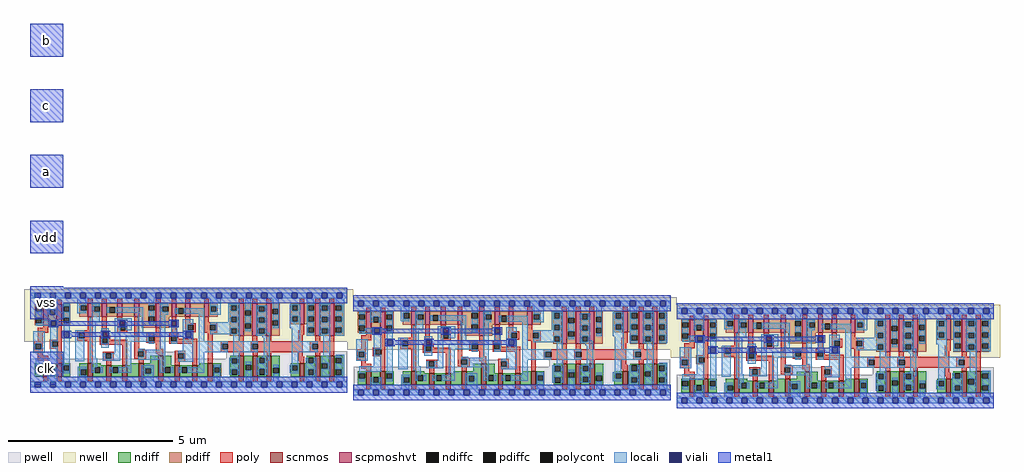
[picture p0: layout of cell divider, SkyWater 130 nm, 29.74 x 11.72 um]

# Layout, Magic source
magic
tech sky130A
<< metal1 >>
rect 0 0 100 100
rect 0 -200 100 -100
rect 0 -400 100 -300
rect 0 -600 100 -500
rect 0 -800 100 -700
rect 0 -1000 100 -900
use sky130_fd_sc_hd__dfxbp_2  x1 $PDKPATH/libs.ref/sky130_fd_sc_hd/mag
transform 1 0 985 0 1 -1024
box -19 -24 985 296
use sky130_fd_sc_hd__dfxbp_2  x2
transform 1 0 1970 0 1 -1048
box -19 -24 985 296
use sky130_fd_sc_hd__dfxbp_2  x3
transform 1 0 0 0 1 -1000
box -19 -24 985 296
<< labels >>
flabel metal1 0 0 100 100 0 FreeSans 128 0 0 0 b
port 0 nsew
flabel metal1 0 -200 100 -100 0 FreeSans 128 0 0 0 c
port 1 nsew
flabel metal1 0 -400 100 -300 0 FreeSans 128 0 0 0 a
port 2 nsew
flabel metal1 0 -600 100 -500 0 FreeSans 128 0 0 0 vdd
port 3 nsew
flabel metal1 0 -800 100 -700 0 FreeSans 128 0 0 0 vss
port 4 nsew
flabel metal1 0 -1000 100 -900 0 FreeSans 128 0 0 0 clk
port 5 nsew
<< end >>

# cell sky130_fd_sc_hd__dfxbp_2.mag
magic
tech sky130A
magscale 1 2
<< nwell >>
rect -38 261 1970 582
<< pwell >>
rect 704 157 886 201
rect 1194 157 1931 203
rect 1 21 1931 157
rect 29 -17 63 21
<< scnmos >>
rect 79 47 109 131
rect 163 47 193 131
rect 351 47 381 131
rect 463 47 493 119
rect 562 47 592 119
rect 661 47 691 131
rect 780 47 810 175
rect 881 47 911 119
rect 987 47 1017 119
rect 1082 47 1112 131
rect 1272 47 1302 177
rect 1356 47 1386 177
rect 1440 47 1470 177
rect 1641 47 1671 131
rect 1738 47 1768 177
rect 1822 47 1852 177
<< scpmoshvt >>
rect 79 363 109 491
rect 163 363 193 491
rect 351 413 381 497
rect 436 413 466 497
rect 531 413 561 497
rect 634 413 664 497
rect 766 347 796 497
rect 861 413 891 497
rect 945 413 975 497
rect 1059 413 1089 497
rect 1270 297 1300 497
rect 1354 297 1384 497
rect 1438 297 1468 497
rect 1641 369 1671 497
rect 1738 297 1768 497
rect 1822 297 1852 497
<< ndiff >>
rect 27 119 79 131
rect 27 85 35 119
rect 69 85 79 119
rect 27 47 79 85
rect 109 93 163 131
rect 109 59 119 93
rect 153 59 163 93
rect 109 47 163 59
rect 193 119 245 131
rect 193 85 203 119
rect 237 85 245 119
rect 193 47 245 85
rect 299 93 351 131
rect 299 59 307 93
rect 341 59 351 93
rect 299 47 351 59
rect 381 119 431 131
rect 730 131 780 175
rect 611 119 661 131
rect 381 107 463 119
rect 381 73 392 107
rect 426 73 463 107
rect 381 47 463 73
rect 493 107 562 119
rect 493 73 503 107
rect 537 73 562 107
rect 493 47 562 73
rect 592 47 661 119
rect 691 101 780 131
rect 691 67 702 101
rect 736 67 780 101
rect 691 47 780 67
rect 810 119 860 175
rect 1220 162 1272 177
rect 1032 119 1082 131
rect 810 107 881 119
rect 810 73 821 107
rect 855 73 881 107
rect 810 47 881 73
rect 911 107 987 119
rect 911 73 924 107
rect 958 73 987 107
rect 911 47 987 73
rect 1017 47 1082 119
rect 1112 107 1164 131
rect 1112 73 1122 107
rect 1156 73 1164 107
rect 1112 47 1164 73
rect 1220 128 1228 162
rect 1262 128 1272 162
rect 1220 94 1272 128
rect 1220 60 1228 94
rect 1262 60 1272 94
rect 1220 47 1272 60
rect 1302 123 1356 177
rect 1302 89 1312 123
rect 1346 89 1356 123
rect 1302 47 1356 89
rect 1386 164 1440 177
rect 1386 130 1396 164
rect 1430 130 1440 164
rect 1386 96 1440 130
rect 1386 62 1396 96
rect 1430 62 1440 96
rect 1386 47 1440 62
rect 1470 104 1522 177
rect 1686 165 1738 177
rect 1686 131 1694 165
rect 1728 131 1738 165
rect 1470 70 1480 104
rect 1514 70 1522 104
rect 1470 47 1522 70
rect 1589 119 1641 131
rect 1589 85 1597 119
rect 1631 85 1641 119
rect 1589 47 1641 85
rect 1671 93 1738 131
rect 1671 59 1694 93
rect 1728 59 1738 93
rect 1671 47 1738 59
rect 1768 131 1822 177
rect 1768 97 1778 131
rect 1812 97 1822 131
rect 1768 47 1822 97
rect 1852 165 1905 177
rect 1852 131 1863 165
rect 1897 131 1905 165
rect 1852 93 1905 131
rect 1852 59 1863 93
rect 1897 59 1905 93
rect 1852 47 1905 59
<< pdiff >>
rect 27 477 79 491
rect 27 443 35 477
rect 69 443 79 477
rect 27 409 79 443
rect 27 375 35 409
rect 69 375 79 409
rect 27 363 79 375
rect 109 461 163 491
rect 109 427 119 461
rect 153 427 163 461
rect 109 363 163 427
rect 193 477 245 491
rect 193 443 203 477
rect 237 443 245 477
rect 193 409 245 443
rect 299 485 351 497
rect 299 451 307 485
rect 341 451 351 485
rect 299 413 351 451
rect 381 477 436 497
rect 381 443 391 477
rect 425 443 436 477
rect 381 413 436 443
rect 466 472 531 497
rect 466 438 483 472
rect 517 438 531 472
rect 466 413 531 438
rect 561 413 634 497
rect 664 485 766 497
rect 664 451 722 485
rect 756 451 766 485
rect 664 417 766 451
rect 664 413 722 417
rect 193 375 203 409
rect 237 375 245 409
rect 193 363 245 375
rect 679 383 722 413
rect 756 383 766 417
rect 679 347 766 383
rect 796 477 861 497
rect 796 443 806 477
rect 840 443 861 477
rect 796 413 861 443
rect 891 467 945 497
rect 891 433 901 467
rect 935 433 945 467
rect 891 413 945 433
rect 975 413 1059 497
rect 1089 477 1142 497
rect 1089 443 1100 477
rect 1134 443 1142 477
rect 1089 413 1142 443
rect 1216 485 1270 497
rect 1216 451 1224 485
rect 1258 451 1270 485
rect 1216 414 1270 451
rect 796 347 846 413
rect 1216 380 1224 414
rect 1258 380 1270 414
rect 1216 343 1270 380
rect 1216 309 1224 343
rect 1258 309 1270 343
rect 1216 297 1270 309
rect 1300 455 1354 497
rect 1300 421 1310 455
rect 1344 421 1354 455
rect 1300 375 1354 421
rect 1300 341 1310 375
rect 1344 341 1354 375
rect 1300 297 1354 341
rect 1384 479 1438 497
rect 1384 445 1394 479
rect 1428 445 1438 479
rect 1384 411 1438 445
rect 1384 377 1394 411
rect 1428 377 1438 411
rect 1384 343 1438 377
rect 1384 309 1394 343
rect 1428 309 1438 343
rect 1384 297 1438 309
rect 1468 462 1520 497
rect 1468 428 1478 462
rect 1512 428 1520 462
rect 1468 394 1520 428
rect 1468 360 1478 394
rect 1512 360 1520 394
rect 1589 485 1641 497
rect 1589 451 1597 485
rect 1631 451 1641 485
rect 1589 417 1641 451
rect 1589 383 1597 417
rect 1631 383 1641 417
rect 1589 369 1641 383
rect 1671 485 1738 497
rect 1671 451 1694 485
rect 1728 451 1738 485
rect 1671 417 1738 451
rect 1671 383 1694 417
rect 1728 383 1738 417
rect 1671 369 1738 383
rect 1468 297 1520 360
rect 1686 349 1738 369
rect 1686 315 1694 349
rect 1728 315 1738 349
rect 1686 297 1738 315
rect 1768 485 1822 497
rect 1768 451 1778 485
rect 1812 451 1822 485
rect 1768 414 1822 451
rect 1768 380 1778 414
rect 1812 380 1822 414
rect 1768 343 1822 380
rect 1768 309 1778 343
rect 1812 309 1822 343
rect 1768 297 1822 309
rect 1852 485 1905 497
rect 1852 451 1863 485
rect 1897 451 1905 485
rect 1852 417 1905 451
rect 1852 383 1863 417
rect 1897 383 1905 417
rect 1852 349 1905 383
rect 1852 315 1863 349
rect 1897 315 1905 349
rect 1852 297 1905 315
<< ndiffc >>
rect 35 85 69 119
rect 119 59 153 93
rect 203 85 237 119
rect 307 59 341 93
rect 392 73 426 107
rect 503 73 537 107
rect 702 67 736 101
rect 821 73 855 107
rect 924 73 958 107
rect 1122 73 1156 107
rect 1228 128 1262 162
rect 1228 60 1262 94
rect 1312 89 1346 123
rect 1396 130 1430 164
rect 1396 62 1430 96
rect 1694 131 1728 165
rect 1480 70 1514 104
rect 1597 85 1631 119
rect 1694 59 1728 93
rect 1778 97 1812 131
rect 1863 131 1897 165
rect 1863 59 1897 93
<< pdiffc >>
rect 35 443 69 477
rect 35 375 69 409
rect 119 427 153 461
rect 203 443 237 477
rect 307 451 341 485
rect 391 443 425 477
rect 483 438 517 472
rect 722 451 756 485
rect 203 375 237 409
rect 722 383 756 417
rect 806 443 840 477
rect 901 433 935 467
rect 1100 443 1134 477
rect 1224 451 1258 485
rect 1224 380 1258 414
rect 1224 309 1258 343
rect 1310 421 1344 455
rect 1310 341 1344 375
rect 1394 445 1428 479
rect 1394 377 1428 411
rect 1394 309 1428 343
rect 1478 428 1512 462
rect 1478 360 1512 394
rect 1597 451 1631 485
rect 1597 383 1631 417
rect 1694 451 1728 485
rect 1694 383 1728 417
rect 1694 315 1728 349
rect 1778 451 1812 485
rect 1778 380 1812 414
rect 1778 309 1812 343
rect 1863 451 1897 485
rect 1863 383 1897 417
rect 1863 315 1897 349
<< poly >>
rect 79 491 109 517
rect 163 491 193 517
rect 351 497 381 523
rect 436 497 466 523
rect 531 497 561 523
rect 634 497 664 523
rect 766 497 796 523
rect 861 497 891 523
rect 945 497 975 523
rect 1059 497 1089 523
rect 1270 497 1300 523
rect 1354 497 1384 523
rect 1438 497 1468 523
rect 1641 497 1671 523
rect 1738 497 1768 523
rect 1822 497 1852 523
rect 79 348 109 363
rect 46 318 109 348
rect 46 265 76 318
rect 163 274 193 363
rect 351 333 381 413
rect 22 249 76 265
rect 22 215 32 249
rect 66 215 76 249
rect 118 264 193 274
rect 286 317 381 333
rect 286 283 296 317
rect 330 283 381 317
rect 436 297 466 413
rect 531 381 561 413
rect 531 365 592 381
rect 531 331 548 365
rect 582 331 592 365
rect 531 315 592 331
rect 286 267 381 283
rect 118 230 134 264
rect 168 230 193 264
rect 118 220 193 230
rect 22 199 76 215
rect 46 176 76 199
rect 46 146 109 176
rect 79 131 109 146
rect 163 131 193 220
rect 351 131 381 267
rect 423 287 489 297
rect 423 253 439 287
rect 473 273 489 287
rect 473 253 592 273
rect 423 243 592 253
rect 443 191 509 201
rect 443 157 459 191
rect 493 157 509 191
rect 443 147 509 157
rect 463 119 493 147
rect 562 119 592 243
rect 634 213 664 413
rect 766 309 796 347
rect 861 315 891 413
rect 945 375 975 413
rect 1059 381 1089 413
rect 944 365 1010 375
rect 944 331 960 365
rect 994 331 1010 365
rect 944 321 1010 331
rect 1059 365 1140 381
rect 1059 331 1096 365
rect 1130 331 1140 365
rect 1059 315 1140 331
rect 706 299 796 309
rect 706 265 722 299
rect 756 265 796 299
rect 706 255 796 265
rect 766 220 796 255
rect 848 299 902 315
rect 848 265 858 299
rect 892 279 902 299
rect 892 265 1017 279
rect 848 249 1017 265
rect 634 203 708 213
rect 634 169 658 203
rect 692 169 708 203
rect 766 190 810 220
rect 780 175 810 190
rect 881 191 945 207
rect 634 159 708 169
rect 661 131 691 159
rect 881 157 901 191
rect 935 157 945 191
rect 881 141 945 157
rect 881 119 911 141
rect 987 119 1017 249
rect 1082 131 1112 315
rect 1641 333 1671 369
rect 1632 303 1671 333
rect 1270 265 1300 297
rect 1354 265 1384 297
rect 1438 265 1468 297
rect 1632 265 1662 303
rect 1738 265 1768 297
rect 1822 265 1852 297
rect 1160 249 1302 265
rect 1160 215 1170 249
rect 1204 215 1302 249
rect 1160 199 1302 215
rect 1344 249 1662 265
rect 1344 215 1354 249
rect 1388 215 1662 249
rect 1344 199 1662 215
rect 1704 249 1852 265
rect 1704 215 1718 249
rect 1752 215 1852 249
rect 1704 199 1852 215
rect 1272 177 1302 199
rect 1356 177 1386 199
rect 1440 177 1470 199
rect 1632 170 1662 199
rect 1738 177 1768 199
rect 1822 177 1852 199
rect 1632 146 1671 170
rect 1641 131 1671 146
rect 79 21 109 47
rect 163 21 193 47
rect 351 21 381 47
rect 463 21 493 47
rect 562 21 592 47
rect 661 21 691 47
rect 780 21 810 47
rect 881 21 911 47
rect 987 21 1017 47
rect 1082 21 1112 47
rect 1272 21 1302 47
rect 1356 21 1386 47
rect 1440 21 1470 47
rect 1641 21 1671 47
rect 1738 21 1768 47
rect 1822 21 1852 47
<< polycont >>
rect 32 215 66 249
rect 296 283 330 317
rect 548 331 582 365
rect 134 230 168 264
rect 439 253 473 287
rect 459 157 493 191
rect 960 331 994 365
rect 1096 331 1130 365
rect 722 265 756 299
rect 858 265 892 299
rect 658 169 692 203
rect 901 157 935 191
rect 1170 215 1204 249
rect 1354 215 1388 249
rect 1718 215 1752 249
<< locali >>
rect 0 527 29 561
rect 63 527 121 561
rect 155 527 213 561
rect 247 527 305 561
rect 339 527 397 561
rect 431 527 489 561
rect 523 527 581 561
rect 615 527 673 561
rect 707 527 765 561
rect 799 527 857 561
rect 891 527 949 561
rect 983 527 1041 561
rect 1075 527 1133 561
rect 1167 527 1225 561
rect 1259 527 1317 561
rect 1351 527 1409 561
rect 1443 527 1501 561
rect 1535 527 1593 561
rect 1627 527 1685 561
rect 1719 527 1777 561
rect 1811 527 1869 561
rect 1903 527 1932 561
rect 35 477 69 493
rect 35 409 69 443
rect 103 461 169 527
rect 103 427 119 461
rect 153 427 169 461
rect 203 477 240 493
rect 237 443 240 477
rect 203 409 240 443
rect 288 485 341 527
rect 288 451 307 485
rect 288 435 341 451
rect 375 477 425 493
rect 375 443 391 477
rect 722 485 756 527
rect 69 391 168 393
rect 69 375 126 391
rect 35 359 126 375
rect 122 357 126 359
rect 160 357 168 391
rect 18 249 88 325
rect 18 215 32 249
rect 66 215 88 249
rect 18 195 88 215
rect 122 264 168 357
rect 122 230 134 264
rect 122 161 168 230
rect 35 127 168 161
rect 237 375 240 409
rect 375 408 425 443
rect 467 438 483 472
rect 517 438 688 472
rect 203 323 240 375
rect 364 382 425 408
rect 514 391 620 404
rect 203 289 205 323
rect 239 289 240 323
rect 35 119 69 127
rect 203 119 240 289
rect 274 317 330 333
rect 274 283 296 317
rect 274 143 330 283
rect 364 161 398 382
rect 514 357 546 391
rect 580 365 620 391
rect 432 323 480 344
rect 432 289 443 323
rect 477 289 480 323
rect 432 287 480 289
rect 432 253 439 287
rect 473 253 480 287
rect 432 225 480 253
rect 514 191 548 357
rect 582 331 620 365
rect 654 315 688 438
rect 722 417 756 451
rect 722 367 756 383
rect 790 477 840 493
rect 790 443 806 477
rect 1098 477 1161 527
rect 790 427 840 443
rect 885 433 901 467
rect 935 433 1062 467
rect 654 299 756 315
rect 654 297 722 299
rect 364 135 409 161
rect 443 157 459 191
rect 493 157 548 191
rect 443 147 548 157
rect 582 265 722 297
rect 582 263 756 265
rect 35 69 69 85
rect 103 59 119 93
rect 153 59 169 93
rect 237 85 240 119
rect 203 69 240 85
rect 291 93 341 109
rect 103 17 169 59
rect 291 59 307 93
rect 375 107 409 135
rect 582 107 616 263
rect 722 249 756 263
rect 658 213 698 219
rect 790 213 824 427
rect 858 391 896 393
rect 858 357 860 391
rect 894 357 896 391
rect 858 299 896 357
rect 892 265 896 299
rect 858 249 896 265
rect 930 365 994 399
rect 930 331 960 365
rect 930 323 994 331
rect 930 289 947 323
rect 981 289 994 323
rect 658 203 824 213
rect 930 207 994 289
rect 692 169 824 203
rect 658 153 824 169
rect 375 73 392 107
rect 426 73 442 107
rect 481 73 503 107
rect 537 73 616 107
rect 680 101 754 117
rect 291 17 341 59
rect 680 67 702 101
rect 736 67 754 101
rect 790 107 824 153
rect 901 191 994 207
rect 935 157 994 191
rect 901 141 994 157
rect 1028 265 1062 433
rect 1098 443 1100 477
rect 1134 443 1161 477
rect 1098 427 1161 443
rect 1208 485 1276 493
rect 1208 451 1224 485
rect 1258 451 1276 485
rect 1208 414 1276 451
rect 1208 381 1224 414
rect 1096 380 1224 381
rect 1258 380 1276 414
rect 1096 365 1276 380
rect 1130 343 1276 365
rect 1130 331 1224 343
rect 1096 309 1224 331
rect 1258 309 1276 343
rect 1310 455 1344 527
rect 1310 375 1344 421
rect 1310 325 1344 341
rect 1378 479 1444 484
rect 1378 445 1394 479
rect 1428 445 1444 479
rect 1378 411 1444 445
rect 1378 377 1394 411
rect 1428 377 1444 411
rect 1378 343 1444 377
rect 1478 462 1513 527
rect 1512 428 1513 462
rect 1478 394 1513 428
rect 1512 360 1513 394
rect 1478 344 1513 360
rect 1581 485 1647 489
rect 1581 451 1597 485
rect 1631 451 1647 485
rect 1581 417 1647 451
rect 1581 383 1597 417
rect 1631 383 1647 417
rect 1581 343 1647 383
rect 1096 306 1276 309
rect 1238 265 1276 306
rect 1378 309 1394 343
rect 1428 315 1444 343
rect 1428 309 1460 315
rect 1378 299 1460 309
rect 1413 289 1460 299
rect 1028 249 1204 265
rect 1028 215 1170 249
rect 1028 199 1204 215
rect 1238 249 1388 265
rect 1238 215 1354 249
rect 1238 199 1388 215
rect 1028 107 1062 199
rect 1238 165 1278 199
rect 1422 173 1460 289
rect 1411 165 1460 173
rect 1212 162 1278 165
rect 1212 128 1228 162
rect 1262 128 1278 162
rect 1380 164 1460 165
rect 790 73 821 107
rect 855 73 871 107
rect 905 73 924 107
rect 958 73 1062 107
rect 1117 107 1159 123
rect 1117 73 1122 107
rect 1156 73 1159 107
rect 680 17 754 67
rect 1117 17 1159 73
rect 1212 94 1278 128
rect 1212 60 1228 94
rect 1262 60 1278 94
rect 1312 123 1346 139
rect 1312 17 1346 89
rect 1380 130 1396 164
rect 1430 148 1460 164
rect 1593 265 1647 343
rect 1685 485 1728 527
rect 1685 451 1694 485
rect 1685 417 1728 451
rect 1685 383 1694 417
rect 1685 349 1728 383
rect 1685 315 1694 349
rect 1685 299 1728 315
rect 1762 485 1829 493
rect 1762 451 1778 485
rect 1812 451 1829 485
rect 1762 414 1829 451
rect 1762 380 1778 414
rect 1812 380 1829 414
rect 1762 343 1829 380
rect 1762 309 1778 343
rect 1812 309 1829 343
rect 1762 299 1829 309
rect 1863 485 1913 527
rect 1897 451 1913 485
rect 1863 417 1913 451
rect 1897 383 1913 417
rect 1863 349 1913 383
rect 1897 315 1913 349
rect 1863 299 1913 315
rect 1593 249 1752 265
rect 1593 215 1718 249
rect 1593 199 1752 215
rect 1430 130 1446 148
rect 1380 96 1446 130
rect 1593 123 1633 199
rect 1786 177 1829 299
rect 1380 62 1396 96
rect 1430 62 1446 96
rect 1380 61 1446 62
rect 1480 104 1514 120
rect 1480 17 1514 70
rect 1581 119 1633 123
rect 1581 85 1597 119
rect 1631 85 1633 119
rect 1581 69 1633 85
rect 1678 131 1694 165
rect 1728 131 1744 165
rect 1678 93 1744 131
rect 1678 59 1694 93
rect 1728 59 1744 93
rect 1678 17 1744 59
rect 1778 131 1829 177
rect 1812 97 1829 131
rect 1778 53 1829 97
rect 1863 165 1913 181
rect 1897 131 1913 165
rect 1863 93 1913 131
rect 1897 59 1913 93
rect 1863 17 1913 59
rect 0 -17 29 17
rect 63 -17 121 17
rect 155 -17 213 17
rect 247 -17 305 17
rect 339 -17 397 17
rect 431 -17 489 17
rect 523 -17 581 17
rect 615 -17 673 17
rect 707 -17 765 17
rect 799 -17 857 17
rect 891 -17 949 17
rect 983 -17 1041 17
rect 1075 -17 1133 17
rect 1167 -17 1225 17
rect 1259 -17 1317 17
rect 1351 -17 1409 17
rect 1443 -17 1501 17
rect 1535 -17 1593 17
rect 1627 -17 1685 17
rect 1719 -17 1777 17
rect 1811 -17 1869 17
rect 1903 -17 1932 17
<< viali >>
rect 29 527 63 561
rect 121 527 155 561
rect 213 527 247 561
rect 305 527 339 561
rect 397 527 431 561
rect 489 527 523 561
rect 581 527 615 561
rect 673 527 707 561
rect 765 527 799 561
rect 857 527 891 561
rect 949 527 983 561
rect 1041 527 1075 561
rect 1133 527 1167 561
rect 1225 527 1259 561
rect 1317 527 1351 561
rect 1409 527 1443 561
rect 1501 527 1535 561
rect 1593 527 1627 561
rect 1685 527 1719 561
rect 1777 527 1811 561
rect 1869 527 1903 561
rect 126 357 160 391
rect 205 289 239 323
rect 546 365 580 391
rect 546 357 548 365
rect 548 357 580 365
rect 443 289 477 323
rect 860 357 894 391
rect 947 289 981 323
rect 29 -17 63 17
rect 121 -17 155 17
rect 213 -17 247 17
rect 305 -17 339 17
rect 397 -17 431 17
rect 489 -17 523 17
rect 581 -17 615 17
rect 673 -17 707 17
rect 765 -17 799 17
rect 857 -17 891 17
rect 949 -17 983 17
rect 1041 -17 1075 17
rect 1133 -17 1167 17
rect 1225 -17 1259 17
rect 1317 -17 1351 17
rect 1409 -17 1443 17
rect 1501 -17 1535 17
rect 1593 -17 1627 17
rect 1685 -17 1719 17
rect 1777 -17 1811 17
rect 1869 -17 1903 17
<< metal1 >>
rect 0 561 1932 592
rect 0 527 29 561
rect 63 527 121 561
rect 155 527 213 561
rect 247 527 305 561
rect 339 527 397 561
rect 431 527 489 561
rect 523 527 581 561
rect 615 527 673 561
rect 707 527 765 561
rect 799 527 857 561
rect 891 527 949 561
rect 983 527 1041 561
rect 1075 527 1133 561
rect 1167 527 1225 561
rect 1259 527 1317 561
rect 1351 527 1409 561
rect 1443 527 1501 561
rect 1535 527 1593 561
rect 1627 527 1685 561
rect 1719 527 1777 561
rect 1811 527 1869 561
rect 1903 527 1932 561
rect 0 496 1932 527
rect 114 391 172 397
rect 114 357 126 391
rect 160 388 172 391
rect 534 391 592 397
rect 534 388 546 391
rect 160 360 546 388
rect 160 357 172 360
rect 114 351 172 357
rect 534 357 546 360
rect 580 388 592 391
rect 848 391 906 397
rect 848 388 860 391
rect 580 360 860 388
rect 580 357 592 360
rect 534 351 592 357
rect 848 357 860 360
rect 894 357 906 391
rect 848 351 906 357
rect 193 323 251 329
rect 193 289 205 323
rect 239 320 251 323
rect 431 323 489 329
rect 431 320 443 323
rect 239 292 443 320
rect 239 289 251 292
rect 193 283 251 289
rect 431 289 443 292
rect 477 320 489 323
rect 935 323 993 329
rect 935 320 947 323
rect 477 292 947 320
rect 477 289 489 292
rect 431 283 489 289
rect 935 289 947 292
rect 981 289 993 323
rect 935 283 993 289
rect 0 17 1932 48
rect 0 -17 29 17
rect 63 -17 121 17
rect 155 -17 213 17
rect 247 -17 305 17
rect 339 -17 397 17
rect 431 -17 489 17
rect 523 -17 581 17
rect 615 -17 673 17
rect 707 -17 765 17
rect 799 -17 857 17
rect 891 -17 949 17
rect 983 -17 1041 17
rect 1075 -17 1133 17
rect 1167 -17 1225 17
rect 1259 -17 1317 17
rect 1351 -17 1409 17
rect 1443 -17 1501 17
rect 1535 -17 1593 17
rect 1627 -17 1685 17
rect 1719 -17 1777 17
rect 1811 -17 1869 17
rect 1903 -17 1932 17
rect 0 -48 1932 -17
<< labels >>
flabel metal1 s 29 -17 63 17 0 FreeSans 200 0 0 0 VGND
port 2 nsew
flabel metal1 s 29 527 63 561 0 FreeSans 200 0 0 0 VPWR
port 3 nsew
flabel locali s 1769 304 1803 338 0 FreeSans 400 0 0 0 Q_N
port 6 nsew
flabel locali s 289 221 323 255 0 FreeSans 200 0 0 0 D
port 8 nsew
flabel locali s 29 221 63 255 0 FreeSans 400 0 0 0 CLK
port 9 nsew
flabel locali s 1390 85 1424 119 0 FreeSans 400 0 0 0 Q
port 7 nsew
flabel pwell s 29 -17 63 17 0 FreeSans 200 0 0 0 VNB
port 4 nsew
flabel pwell s 46 0 46 0 0 FreeSans 200 0 0 0 VNB
flabel nwell s 29 527 63 561 0 FreeSans 200 0 0 0 VPB
port 5 nsew
flabel nwell s 46 544 46 544 0 FreeSans 200 0 0 0 VPB
rlabel comment s 0 0 0 0 4 dfxbp_2
<< properties >>
string FIXED_BBOX 0 0 1932 544
<< end >>
